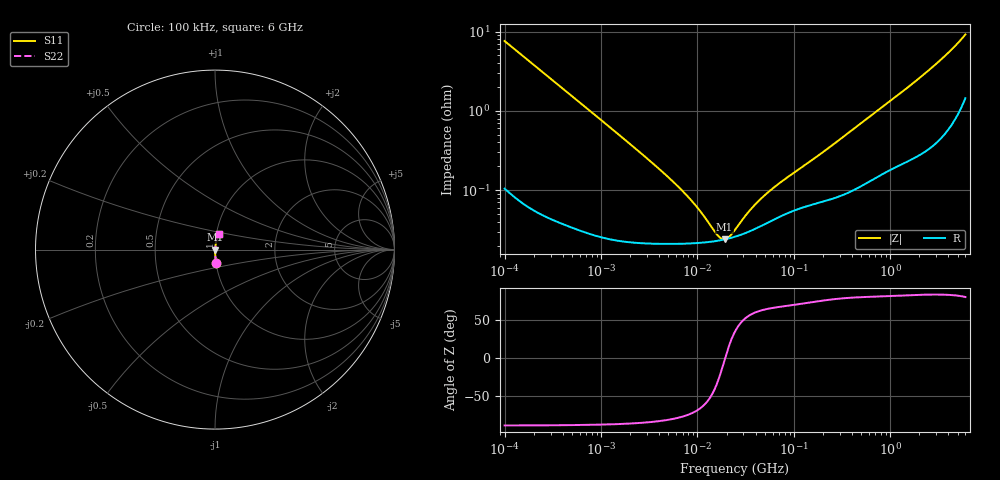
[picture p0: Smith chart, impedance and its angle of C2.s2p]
!Murata Part Number: GRM152B30J224KE19
!These Parameters are Measured in Series Mode Connection
!  o--ll--o
!Port1  Port2
!  o------o
!Operation Temp=25[C], DC Bias Voltage=0[V]
!Freq. Start=100[kHz] Stop=6000000[kHz] 401[Steps]
# Hz S RI R 50
!Freq.(Hz) S11(Real) S11(Imag) S21(Real) S21(Imag) S12(Real) S12(Imag) S22(Real) S22(Imag)
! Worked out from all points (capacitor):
!   401 points, 100 kHz to 6 GHz, reference 50 ohm
!   read as one part in series: C = 209 nF near 105.7 kHz
!   lowest |Z| = 24 mohm at 19.12 MHz (marker M1)
!   series resonance near 19.36 MHz, so ESL is about 320 pH
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100000  0.00675 -0.0753  0.9932 0.0753  0.9932 0.0753  0.00675 -0.0753
222032  0.00169 -0.0342  0.9983 0.0342  0.9983 0.0342  0.00169 -0.0342
631452  0.000451 -0.0121  0.9995 0.0121  0.9995 0.0121  0.000451 -0.0121
2004685  0.000235 -0.0038  0.9998 0.0038  0.9998 0.0038  0.000235 -0.0038
3987316  0.000214 -0.00185  0.9998 0.00185  0.9998 0.00185  0.000214 -0.00185
6191655  0.000212 -0.00112  0.9998 0.00112  0.9998 0.00112  0.000212 -0.00112
8612937  0.000214 -0.000715  0.9998 0.000715  0.9998 0.000715  0.000214 -0.000715
1.103214e7  0.000218 -0.000468  0.9998 0.000468  0.9998 0.000468  0.000218 -0.000468
1.621418e7  0.000231 -0.00014  0.9998 0.00014  0.9998 0.00014  0.000231 -0.00014
1.760885e7  0.000235 -7.41e-05  0.9998 7.41e-05  0.9998 7.41e-05  0.000235 -7.41e-05
1.912349e7  0.00024 -9.4e-06  0.9998 9.4e-06  0.9998 9.4e-06  0.00024 -9.4e-06
2.134758e7  0.000247 7.61e-05  0.9998 -7.61e-05  0.9998 -7.61e-05  0.000247 7.61e-05
2.517799e7  0.000262 0.000205  0.9997 -0.000205  0.9997 -0.000205  0.000262 0.000205
3.502398e7  0.000304 0.00047  0.9997 -0.00047  0.9997 -0.00047  0.000304 0.00047
5.007898e7  0.000375 0.000785  0.9996 -0.000785  0.9996 -0.000785  0.000375 0.000785
7.360219e7  0.000472 0.00118  0.9995 -0.00118  0.9995 -0.00118  0.000472 0.00118
1.546735e8  0.000662 0.00231  0.9993 -0.00231  0.9993 -0.00231  0.000662 0.00231
9.76689e8  0.00194 0.0129  0.9981 -0.0129  0.9981 -0.0129  0.00194 0.0129
1.74024e9  0.00301 0.0223  0.997 -0.0223  0.997 -0.0223  0.00301 0.0223
2.855131e9  0.00508 0.0368  0.9949 -0.0368  0.9949 -0.0368  0.00508 0.0368
4.082404e9  0.00897 0.0543  0.991 -0.0543  0.991 -0.0543  0.00897 0.0543
6e9  0.022 0.0874  0.978 -0.0874  0.978 -0.0874  0.022 0.0874
